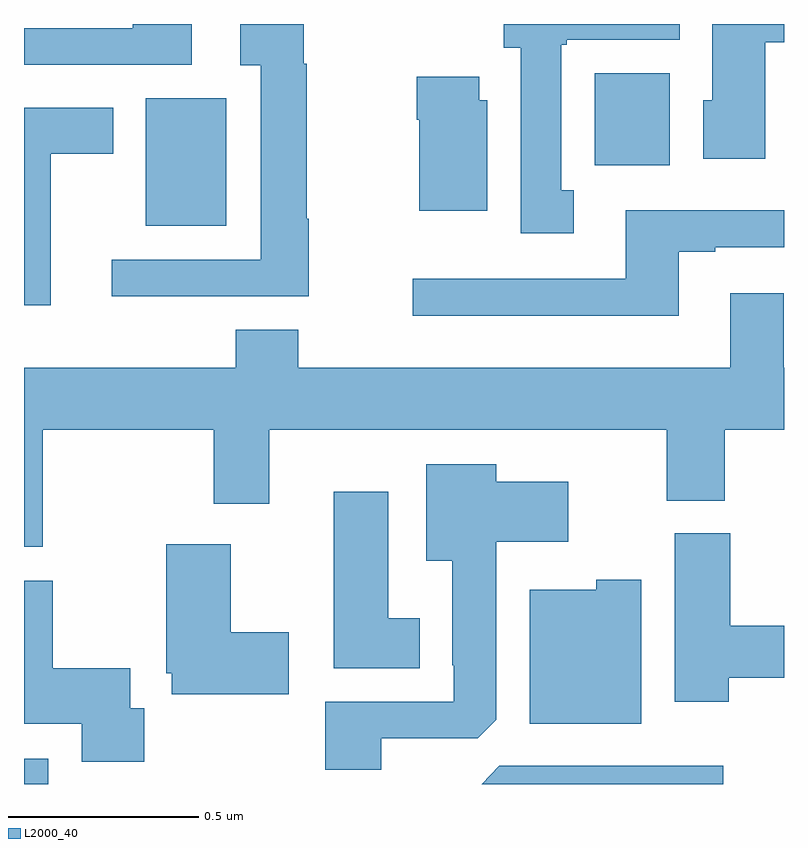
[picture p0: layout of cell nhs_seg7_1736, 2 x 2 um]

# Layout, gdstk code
import gdstk
lib = gdstk.Library(unit=1e-6, precision=1e-09)
def R(c, l, rs):  # rectangles x0, y0, x1, y1
    for r in rs: c.add(gdstk.rectangle(r[:2], r[2:], *l))
def P(c, l, *ps):  # polygons
    for p in ps: c.add(gdstk.Polygon(p, *l))
L2000_40 = (2000, 40)

nhs_seg7_1736 = lib.new_cell('nhs_seg7_1736')
R(nhs_seg7_1736, L2000_40, [(135,1017,135.064,1017.067), (135.32,1018.469,135.532,1018.804), (136.502,1018.628,136.699,1018.87)])
P(nhs_seg7_1736, L2000_40, [(136.447,1018.562),(136.414,1018.562),(136.414,1018.945),(136.428,1018.945),(136.428,1018.958),(136.726,1018.958),(136.726,1019),(136.262,1019),(136.262,1018.938),(136.307,1018.938),(136.307,1018.449),(136.447,1018.449)],
  [(136.951,1018.952),(137,1018.952),(137,1019),(136.811,1019),(136.811,1018.8),(136.787,1018.8),(136.787,1018.646),(136.951,1018.646)],
  [(135.442,1019),(135.286,1019),(135.286,1018.989),(135,1018.989),(135,1018.893),(135.442,1018.893)],
  [(135.749,1018.487),(135.744,1018.487),(135.744,1018.896),(135.736,1018.896),(135.736,1019),(135.569,1019),(135.569,1018.892),(135.623,1018.892),(135.623,1018.38),(135.231,1018.38),(135.231,1018.283),(135.749,1018.283)],
  [(136.219,1018.8),(136.198,1018.8),(136.198,1018.861),(136.033,1018.861),(136.033,1018.748),(136.04,1018.748),(136.04,1018.508),(136.219,1018.508)],
  [(135.07,1018.658),(135.235,1018.658),(135.235,1018.78),(135,1018.78),(135,1018.26),(135.07,1018.26)],
  [(136.723,1018.401),(136.819,1018.401),(136.819,1018.413),(137,1018.413),(137,1018.51),(136.583,1018.51),(136.583,1018.329),(136.023,1018.329),(136.023,1018.232),(136.723,1018.232)],
  [(135.049,1017.932),(135.499,1017.932),(135.499,1017.738),(135.646,1017.738),(135.646,1017.932),(136.691,1017.932),(136.691,1017.745),(136.844,1017.745),(136.844,1017.932),(137,1017.932),(137,1018.096),(136.999,1018.096),(136.999,1018.291),(136.859,1018.291),(136.859,1018.096),(135.722,1018.096),(135.722,1018.195),(135.557,1018.195),(135.557,1018.096),(135,1018.096),(135,1017.624),(135.049,1017.624)],
  [(135.94,1017.12),(136.194,1017.12),(136.243,1017.169),(136.243,1017.638),(136.432,1017.638),(136.432,1017.796),(136.243,1017.796),(136.243,1017.841),(136.058,1017.841),(136.058,1017.587),(136.127,1017.587),(136.127,1017.313),(136.131,1017.313),(136.131,1017.216),(135.793,1017.216),(135.793,1017.037),(135.94,1017.037)],
  [(136.042,1017.436),(135.958,1017.436),(135.958,1017.769),(135.815,1017.769),(135.815,1017.305),(136.042,1017.305)],
  [(136.854,1017.28),(137,1017.28),(137,1017.416),(136.859,1017.416),(136.859,1017.66),(136.712,1017.66),(136.712,1017.216),(136.854,1017.216)],
  [(135.697,1017.399),(135.544,1017.399),(135.544,1017.631),(135.374,1017.631),(135.374,1017.291),(135.389,1017.291),(135.389,1017.236),(135.697,1017.236)],
  [(136.624,1017.538),(136.506,1017.538),(136.506,1017.511),(136.331,1017.511),(136.331,1017.158),(136.624,1017.158)],
  [(135.317,1017.199),(135.28,1017.199),(135.28,1017.305),(135.076,1017.305),(135.076,1017.535),(135,1017.535),(135,1017.158),(135.152,1017.158),(135.152,1017.058),(135.317,1017.058)],
  [(136.84,1017.048),(136.251,1017.048),(136.204,1017),(136.84,1017)])

lib.write_gds('nhs_seg7_1736.gds')
